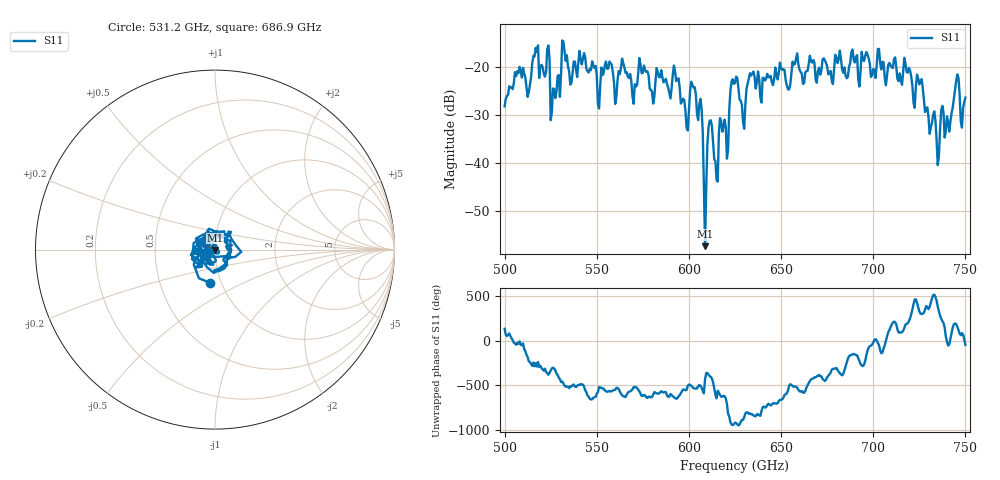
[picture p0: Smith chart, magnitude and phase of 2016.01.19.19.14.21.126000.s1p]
!Created with skrf (http://scikit-rf.org).
# GHz S RI R 50.0
!freq ReS11 ImS11
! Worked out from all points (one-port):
!   401 points, 500 GHz to 750 GHz, reference 50 ohm
!   lowest |S11| = -57.2 dB at 608.8 GHz (marker M1), VSWR 1.00, Z = 50 - j0.134 ohm
!   |S11| at or under -10 dB: start of sweep to end of sweep
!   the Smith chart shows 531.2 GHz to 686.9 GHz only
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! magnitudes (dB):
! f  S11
! 500 GHz  -28.2
! 506.9 GHz  -20.9
! 513.1 GHz  -25.2
! 516.9 GHz  -16.1
! 523.1 GHz  -16.4
! 526.2 GHz  -24.5
! 531.2 GHz  -14.6
! 551.2 GHz  -28.7
! 562.5 GHz  -21.5
! 570.6 GHz  -23.6
! 574.4 GHz  -21.3
! 580 GHz  -25.2
! 593.8 GHz  -22.6
! 598.8 GHz  -32.7
! 602.5 GHz  -24.3
! 606.2 GHz  -26.6
! 608.8 GHz  -57.2
! 611.2 GHz  -31.2
! 615 GHz  -43.5
! 625 GHz  -23.4
! 629.4 GHz  -31.5
! 633.8 GHz  -21.8
! 656.2 GHz  -19.0
! 687.5 GHz  -19.2
! 718.8 GHz  -21.2
! 735 GHz  -40.4
! 745 GHz  -23.0
! 750 GHz  -26.4
